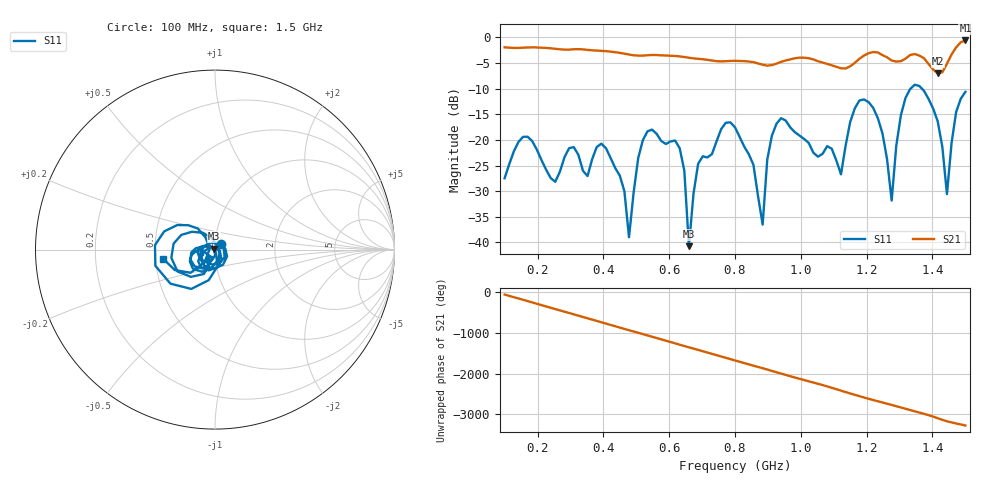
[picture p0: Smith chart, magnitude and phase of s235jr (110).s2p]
! NanoVNA-App
! Date: 2025-09-25 15:05:01
! Start: 100MHz Stop: 1,5GHz Points: 101
! S-Parameter data: F S11 S21 S12 S22
# Hz S RI R 50
!  Frequency  S11_Real  S11_Imag  S21_Real  S21_Imag  S12_Real  S12_Imag  S22_Real  S22_Imag
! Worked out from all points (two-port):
!   101 points, 100 MHz to 1.5 GHz, reference 50 ohm
!   highest |S21| = -0.63 dB at 1.5 GHz (marker M1); lowest = -7.1 dB at 1.416 GHz (marker M2)
!   |S21| within 3 dB of the highest: start of sweep to 609.5 MHz; 1.191 GHz to 1.253 GHz (62.1 MHz wide, 5.08 % of centre) (the widest 2 of 4)
!   lowest |S11| = -40.7 dB at 660 MHz (marker M3), VSWR 1.02, Z = 49.3 + j0.582 ohm
!   |S11| at or under -10 dB: start of sweep to 1.334 GHz; 1.368 GHz to end of sweep
!   S12 and S22 are empty: the file has one direction only
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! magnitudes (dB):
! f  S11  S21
! 100 MHz  -27.5  -2.0
! 156 MHz  -19.4  -2.0
! 338 MHz  -26.0  -2.4
! 408 MHz  -21.6  -2.7
! 478 MHz  -39.0  -3.4
! 520 MHz  -20.1  -3.6
! 576 MHz  -20.2  -3.5
! 632 MHz  -21.6  -3.7
! 660 MHz  -40.7  -4.0
! 688 MHz  -24.7  -4.2
! 800 MHz  -17.6  -4.6
! 884 MHz  -36.5  -5.4
! 898 MHz  -23.8  -5.5
! 926 MHz  -16.9  -5.1
! 1.038 GHz  -22.5  -4.3
! 1.122 GHz  -26.7  -6.0
! 1.206 GHz  -12.7  -3.1
! 1.276 GHz  -31.8  -4.5
! 1.332 GHz  -10.1  -3.5
! 1.416 GHz  -16.4  -7.1
! 1.444 GHz  -30.6  -5.2
! 1.5 GHz  -10.6  -0.6
